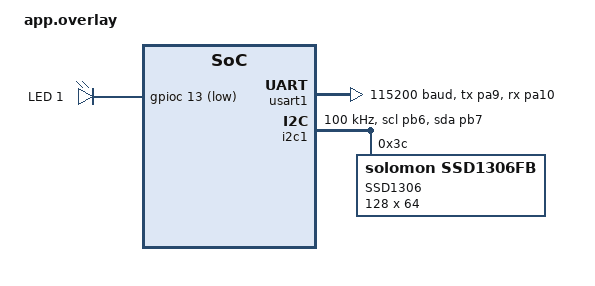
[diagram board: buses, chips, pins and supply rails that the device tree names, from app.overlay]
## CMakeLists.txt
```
# SPDX-License-Identifier: Apache-2.0

cmake_minimum_required(VERSION 3.20.0)
find_package(Zephyr REQUIRED HINTS $ENV{ZEPHYR_BASE})
project(001SSD1306_Demo)
file(GLOB app_sources src/main.c)
target_sources(app PRIVATE ${app_sources})
```

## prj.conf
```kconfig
CONFIG_GPIO=y             # 启用 GPIO 驱动
CONFIG_LED=y
# UART 配置
CONFIG_SERIAL=y
CONFIG_UART_INTERRUPT_DRIVEN=y  # 确保中断驱动支持（部分版本需要）
CONFIG_UART_CONSOLE=y

# 启用 I2C
CONFIG_I2C=y

# 启用显示子系统
CONFIG_DISPLAY=y

# 启用 SSD1306 驱动
CONFIG_SSD1306=y

# 启动LVGL图形库
# CONFIG_LVGL=y
# CONFIG_SENSOR=y
# CONFIG_MPU6050_TRIGGER_NONE=y
# CONFIG_MPU6050=y
# CONFIG_GPIO=y
# CONFIG_CBPRINTF_FP_SUPPORT=y
CONFIG_MAIN_STACK_SIZE=2048
# CONFIG_HEAP_MEM_POOL_SIZE=10240
```

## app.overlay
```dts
/ {
	leds {
		compatible = "gpio-leds";
		userled: led_1 {
			gpios = <&gpioc 13 GPIO_ACTIVE_LOW>;
			label = "LED 1";
			status = "okay";
		};
	};
	aliases {
		led1 = &userled;
	};
	chosen {
		zephyr,display = &ssd1306;
	};
};

&usart1 {
	status = "okay";
	current-speed = <115200>;
	pinctrl-0 = <&usart1_tx_pa9 &usart1_rx_pa10>;
	pinctrl-names = "default";
};

&i2c1 {
	status = "okay";
	clock-frequency = <I2C_BITRATE_STANDARD>;
	pinctrl-0 = <&i2c1_scl_pb6 &i2c1_sda_pb7>;
	pinctrl-names = "default";
	
	// mpu6050: mpu6050@68 {
	// 	compatible = "invensense,mpu6050";
	// 	reg = <0x68>;
	// 	status = "okay";
	// 	int-gpios = <&gpiob 5 GPIO_ACTIVE_HIGH>;
	// };
	ssd1306: ssd1306@3c {
		compatible = "solomon,ssd1306fb";
		reg = <0x3c>;
		label = "SSD1306";
		width = <128>;
		height = <64>;
		segment-offset = <0>;
		page-offset = <0>;
		display-offset = <0>;
		multiplex-ratio = <63>;
		segment-remap;
		com-invdir;
		prechargep = <0x22>;
	};
};
```

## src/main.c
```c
//? 此项目为SSD1306测试OLED显示所用
// brief 基于zephyr4.0
// bug 注意增加主线程的栈大小，否则printk会造成栈溢出
//- 测试通过
#include "ascii_font.c"
#include <string.h>
#include <zephyr/device.h>
#include <zephyr/devicetree.h>
#include <zephyr/drivers/display.h>
#include <zephyr/drivers/gpio.h>
#include <zephyr/drivers/led.h>
#include <zephyr/kernel.h>
#include <zephyr/sys/printk.h>

#define LED1_NODE DT_NODELABEL(userled)
static const struct gpio_dt_spec led_spec = GPIO_DT_SPEC_GET(LED1_NODE, gpios);

#define SSD1306_NODE DT_NODELABEL(ssd1306)
static const struct device *display = DEVICE_DT_GET(SSD1306_NODE);

static void display_print_string_to_buffer(int x, int y, uint8_t *buf,
                                           int len) {
  int start_pos = 0;
  if ((x < 0) || (x > 127) || (y < 0) || (y > 63))
    return;
  memset(buf, 0x00, len);
  // todo 打印Hello, Zephyr 4.0从32行50列开始测试
  start_pos = y / 8 * 128 + x;
  if (start_pos >= len) {
    return;
  }
  //- H
  memcpy(&buf[start_pos], &ascii_font[0][0], 16);
  start_pos += 128;
  memcpy(&buf[start_pos], &ascii_font[0][16], 16);
  start_pos += 16;
  //- e
  start_pos -= 128; // 恢复到上一行
  memcpy(&buf[start_pos], &ascii_font[1][0], 16);
  start_pos += 128;
  memcpy(&buf[start_pos], &ascii_font[1][16], 16);
  start_pos += 16;
  //- ll
  start_pos -= 128; // 恢复到上一行
  memcpy(&buf[start_pos], &ascii_font[2][0], 16);
  start_pos += 128;
  memcpy(&buf[start_pos], &ascii_font[2][16], 16);
  start_pos += 16;
  start_pos -= 128; // 恢复到上一行
  memcpy(&buf[start_pos], &ascii_font[2][0], 16);
  start_pos += 128;
  memcpy(&buf[start_pos], &ascii_font[2][16], 16);
  start_pos += 16;
  //- o
  start_pos -= 128; // 恢复到上一行
  memcpy(&buf[start_pos], &ascii_font[3][0], 16);
  start_pos += 128;
  memcpy(&buf[start_pos], &ascii_font[3][16], 16);
  start_pos += 16;
  //- Z
  start_pos -= 16 * 5;
  start_pos += 128;
  memcpy(&buf[start_pos], &ascii_font[5][0], 16);
  start_pos += 128;
  memcpy(&buf[start_pos], &ascii_font[5][16], 16);
  start_pos += 16;
  //- e
  start_pos -= 128; // 恢复到上一行
  memcpy(&buf[start_pos], &ascii_font[6][0], 16);
  start_pos += 128;
  memcpy(&buf[start_pos], &ascii_font[6][16], 16);
  start_pos += 16;
  //- p
  start_pos -= 128; // 恢复到上一行
  memcpy(&buf[start_pos], &ascii_font[7][0], 16);
  start_pos += 128;
  memcpy(&buf[start_pos], &ascii_font[7][16], 16);
  start_pos += 16;
  //- h
  start_pos -= 128; // 恢复到上一行
  memcpy(&buf[start_pos], &ascii_font[8][0], 16);
  start_pos += 128;
  memcpy(&buf[start_pos], &ascii_font[8][16], 16);
  start_pos += 16;
  //- y
  start_pos -= 128; // 恢复到上一行
  memcpy(&buf[start_pos], &ascii_font[9][0], 16);
  start_pos += 128;
  memcpy(&buf[start_pos], &ascii_font[9][16], 16);
  start_pos += 16;
  //- r
  start_pos -= 128; // 恢复到上一行
  memcpy(&buf[start_pos], &ascii_font[10][0], 16);
  start_pos += 128;
  memcpy(&buf[start_pos], &ascii_font[10][16], 16);
  start_pos += 16;
}
void main(void) {
  if (!device_is_ready(display)) {
    printk("SSD1306 device not ready\n");
    return;
  } else {
    printk("SSD1306 device ready: %s\n", display->name);
  }
  uint8_t buffer[128 * 64 / 8] = {0}; // 128x64 单色位图
  struct display_buffer_descriptor desc = {
      .width = 128, .height = 64, .pitch = 128, .buf_size = sizeof(buffer)};
  display_print_string_to_buffer(20, 20, buffer, sizeof(buffer));
  display_blanking_off(display);
  display_write(display, 0, 0, &desc, buffer);
  // todo LED注册节点初始化
  if (!device_is_ready(led_spec.port)) {
    printk("LED 设备未就绪\n");
    return 0;
  } else {
    printk("led device ready: %s\n", led_spec.port->name);
  }
  gpio_pin_configure_dt(&led_spec, GPIO_OUTPUT_ACTIVE);
  while (1) {
    gpio_pin_toggle_dt(&led_spec);
    k_sleep(K_MSEC(200));
  }
}
```

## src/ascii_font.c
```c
#include <stdint.h>
/* [字库]：[HZK1616宋体] [数据排列]:从左到右从上到下 [取模方式]:纵向8点下高位
[正负反色]:否 [去掉重复后]共11个字符 [总字符库]："Ｈｅｌｏ，Ｚｐｈｙｒ！"*/
const uint8_t ascii_font[11][32] = {
    /*-- ID:0,字符:"H",ASCII编码:0x48,对应字:宽x高=16x16,画布:宽W=16
       高H=16,共32字节 --*/
    {0x00, 0x00, 0x00, 0x04, 0xFC, 0xFC, 0x84, 0x80, 0x80, 0x80, 0x84,
     0xFC, 0xFC, 0x04, 0x00, 0x00, 0x00, 0x00, 0x00, 0x20, 0x3F, 0x3F,
     0x20, 0x00, 0x00, 0x00, 0x20, 0x3F, 0x3F, 0x20, 0x00, 0x00},

    /*-- ID:1,字符:"e",ASCII编码:0x65,对应字:宽x高=16x16,画布:宽W=16
       高H=16,共32字节 --*/
    {0x00, 0x00, 0x00, 0x00, 0x80, 0x80, 0x40, 0x40, 0x40, 0x40, 0xC0,
     0x80, 0x00, 0x00, 0x00, 0x00, 0x00, 0x00, 0x00, 0x0F, 0x1F, 0x12,
     0x12, 0x12, 0x12, 0x1B, 0x0B, 0x00, 0x00, 0x00, 0x00, 0x00},

    /*-- ID:2,字符:"l",ASCII编码:0x6C,对应字:宽x高=16x16,画布:宽W=16
       高H=16,共32字节 --*/
    {0x00, 0x00, 0x00, 0x00, 0x00, 0x00, 0x04, 0xFC, 0xFC, 0x00, 0x00,
     0x00, 0x00, 0x00, 0x00, 0x00, 0x00, 0x00, 0x00, 0x00, 0x00, 0x00,
     0x10, 0x1f, 0x1f, 0x10, 0x00, 0x00, 0x00, 0x00, 0x00, 0x00},

    /*-- ID:3,字符:"o",ASCII编码:0x6F,对应字:宽x高=16x16,画布:宽W=16
       高H=16,共32字节 --*/
    {0x00, 0x00, 0x00, 0x00, 0xF0, 0xF8, 0x18, 0x08, 0x08, 0x08, 0x18,
     0xF8, 0xF0, 0x00, 0x00, 0x00, 0x00, 0x00, 0x00, 0x0F, 0x1F, 0x18,
     0x10, 0x10, 0x10, 0x18, 0x1F, 0x0F, 0x00, 0x00, 0x00, 0x00},

    /*-- ID:4,字符:" ",ASCII编码:0x20,对应字:宽x高=16x16,画布:宽W=16
       高H=16,共32字节 --*/
    {0x00, 0x00, 0x00, 0x00, 0x00, 0x00, 0x00, 0x00, 0x00, 0x00, 0x00,
     0x00, 0x00, 0x00, 0x00, 0x00, 0x00, 0x00, 0x00, 0x00, 0x00, 0x00,
     0x00, 0x00, 0x00, 0x00, 0x00, 0x00, 0x00, 0x00, 0x00, 0x00},

    /*-- ID:5,字符:"Z",ASCII编码:0x5A,对应字:宽x高=16x16,画布:宽W=16
       高H=16,共32字节 --*/
    {0x00, 0x00, 0x0c, 0x04, 0x04, 0x04, 0x04, 0x84, 0xc4, 0x64, 0x34,
     0x1c, 0x0c, 0x00, 0x00, 0x00, 0x00, 0x00, 0x30, 0x38, 0x2c, 0x26,
     0x23, 0x21, 0x20, 0x20, 0x20, 0x30, 0x38, 0x00, 0x00, 0x00},

    /*-- ID:6,字符:"e",ASCII编码:0x65,对应字:宽x高=16x16,画布:宽W=16
       高H=16,共32字节 --*/
    {0x00, 0x00, 0x00, 0x00, 0x80, 0x80, 0x40, 0x40, 0x40, 0x40, 0xC0,
     0x80, 0x00, 0x00, 0x00, 0x00, 0x00, 0x00, 0x00, 0x0F, 0x1F, 0x12,
     0x12, 0x12, 0x12, 0x1B, 0x0B, 0x00, 0x00, 0x00, 0x00, 0x00},

    /*-- ID:7,字符:"p",ASCII编码:0x70,对应字:宽x高=16x16,画布:宽W=16
       高H=16,共32字节 --*/
    {0x00, 0x00, 0x00, 0x40, 0x40, 0x80, 0x80, 0x40, 0x40, 0x40, 0x40,
     0xC0, 0x80, 0x00, 0x00, 0x00, 0x00, 0x00, 0x00, 0x00, 0x80, 0xFF,
     0xFF, 0x90, 0x10, 0x10, 0x10, 0x0F, 0x0F, 0x00, 0x00, 0x00},
    /*-- ID:8,字符 :"h",AS CII编码:0 x68,对应字 :宽x高=16 x16,画布: 宽W=16
      高H=16,共32字节 --*/
    {0x00, 0x00, 0x00, 0x00, 0x04, 0xFC, 0xFC, 0x80, 0x40, 0x40, 0xC0,
     0x80, 0x00, 0x00, 0x00, 0x00, 0x00, 0x00, 0x00, 0x00, 0x10, 0x1F,
     0x1F, 0x00, 0x00, 0x10, 0x1F, 0x1F, 0x10, 0x00, 0x00, 0x00},
    /*-- ID:8,字符:"ｙ",ASCII编码:A3F9,对应字:宽x高=16x16,画布:宽W=16
       高H=16,共32字节*/
    {0x00, 0x00, 0x00, 0x40, 0xC0, 0xC0, 0xC0, 0x40, 0x00, 0x00, 0x00,
     0x40, 0xC0, 0x40, 0x00, 0x00, 0x00, 0x00, 0x00, 0x80, 0x80, 0x41,
     0x27, 0x1E, 0x08, 0x04, 0x02, 0x01, 0x00, 0x00, 0x00, 0x00},
    /*-- ID:9,字符:"r",ASCII编码:0x72,对应字:宽x高=16x16,画布:宽W=16
       高H=16,共32字节 --*/
    {0x00, 0x00, 0x00, 0x00, 0x40, 0xC0, 0x80, 0x40, 0x40, 0x40, 0x40,
     0xC0, 0x80, 0x00, 0x00, 0x00, 0x00, 0x00, 0x00, 0x00, 0x10, 0x1F,
     0x1F, 0x10, 0x00, 0x00, 0x00, 0x00, 0x00, 0x00, 0x00, 0x00},

    /*-- ID:10,字符:"!",ASCII编码:0x21,对应字:宽x高=16x16,画布:宽W=16
       高H=16,共32字节 --*/
    {0x00, 0x00, 0x00, 0x00, 0x00, 0x00, 0x7C, 0xFE, 0xFE, 0x7C, 0x00,
     0x00, 0x00, 0x00, 0x00, 0x00, 0x00, 0x00, 0x00, 0x00, 0x00, 0x00,
     0x10, 0x3B, 0x3B, 0x10, 0x00, 0x00, 0x00, 0x00, 0x00, 0x00}};
```
